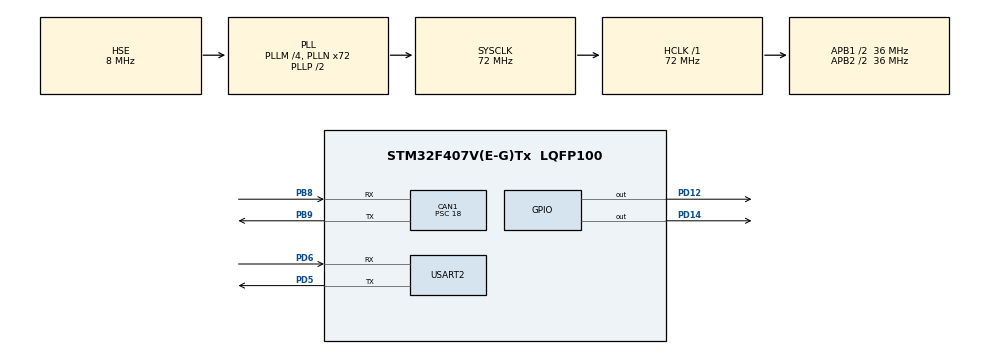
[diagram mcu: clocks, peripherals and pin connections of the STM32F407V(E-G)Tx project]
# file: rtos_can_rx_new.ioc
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CAN1.BS1=CAN_BS1_2TQ
CAN1.CalculateBaudRate=500000
CAN1.CalculateTimeBit=2000
CAN1.CalculateTimeQuantum=500.0
CAN1.Prescaler=18
FREERTOS.INCLUDE_vTaskDelayUntil=1
FREERTOS.Tasks01=defaultTask,-3,128,StartDefaultTask,Default,NULL,Dynamic,NULL,NULL
FREERTOS.configUSE_NEWLIB_REENTRANT=1
Mcu.Family=STM32F4
Mcu.Name=STM32F407V(E-G)Tx
Mcu.Package=LQFP100
NVIC.CAN1_RX0_IRQn=true\:5\:0\:false\:false\:true\:true\:true\:true\:true
NVIC.PriorityGroup=NVIC_PRIORITYGROUP_4
NVIC.TIM6_DAC_IRQn=true\:15\:0\:false\:false\:true\:false\:false\:true\:true
NVIC.TimeBase=TIM6_DAC_IRQn
NVIC.TimeBaseIP=TIM6
PB8.Mode=CAN_Activate
PB8.Signal=CAN1_RX
PB9.Mode=CAN_Activate
PB9.Signal=CAN1_TX
PD12.Signal=GPIO_Output
PD14.Signal=GPIO_Output
PD5.Mode=Asynchronous
PD5.Signal=USART2_TX
PD6.Mode=Asynchronous
PD6.Signal=USART2_RX
PH0-OSC_IN.Mode=HSE-External-Oscillator
PH0-OSC_IN.Signal=RCC_OSC_IN
PH1-OSC_OUT.Mode=HSE-External-Oscillator
PH1-OSC_OUT.Signal=RCC_OSC_OUT
ProjectManager.HeapSize=0x200
ProjectManager.StackSize=0x400
ProjectManager.TargetToolchain=STM32CubeIDE
RCC.48MHZClocksFreq_Value=20571428.57142857
RCC.AHBFreq_Value=72000000
RCC.APB1CLKDivider=RCC_HCLK_DIV2
RCC.APB1Freq_Value=36000000
RCC.APB1TimFreq_Value=72000000
RCC.APB2CLKDivider=RCC_HCLK_DIV2
RCC.APB2Freq_Value=36000000
RCC.APB2TimFreq_Value=72000000
RCC.CortexFreq_Value=72000000
RCC.HCLKFreq_Value=72000000
RCC.HSE_VALUE=8000000
RCC.HSI_VALUE=16000000
RCC.PLLM=4
RCC.PLLN=72
RCC.PLLQ=7
RCC.PLLSourceVirtual=RCC_PLLSOURCE_HSE
RCC.SYSCLKFreq_VALUE=72000000
RCC.SYSCLKSource=RCC_SYSCLKSOURCE_PLLCLK
RCC.VCOOutputFreq_Value=144000000
USART2.VirtualMode=VM_ASYNC
VP_FREERTOS_VS_CMSIS_V1.Mode=CMSIS_V1
VP_SYS_VS_tim6.Mode=TIM6
board=STM32F407G-DISC1

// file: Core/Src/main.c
/* USER CODE BEGIN Header */
/**
  ******************************************************************************
  * @file           : main.c
  * @brief          : Main program body
  ******************************************************************************
  * @attention
  *
  * Copyright (c) 2025 STMicroelectronics.
  * All rights reserved.
  *
  * This software is licensed under terms that can be found in the LICENSE file
  * in the root directory of this software component.
  * If no LICENSE file comes with this software, it is provided AS-IS.
  *
  ******************************************************************************
  */
/* USER CODE END Header */
#include "main.h"
#include "cmsis_os.h"

/* USER CODE BEGIN Includes */
#include "string.h"
#include "stdio.h"
/* USER CODE END Includes */

CAN_HandleTypeDef hcan1;

UART_HandleTypeDef huart2;

osThreadId defaultTaskHandle;

/* USER CODE BEGIN PV */

osThreadId CANRxTaskHandle;
CAN_RxHeaderTypeDef RxHeader;
uint8_t RxData[8];
volatile uint8_t dataReady = 0;

uint16_t LDR_Value;
uint16_t MQ5_Value;
uint8_t Temp_Value;
uint8_t Hum_Value;

/* USER CODE END PV */

void SystemClock_Config(void);
static void MX_GPIO_Init(void);
static void MX_CAN1_Init(void);
static void MX_USART2_UART_Init(void);
void StartDefaultTask(void const * argument);

/* USER CODE BEGIN PFP */

void canRxTask(void const * argument);

/* USER CODE END PFP */

/* USER CODE BEGIN 0 */
void HAL_CAN_RxFifo0MsgPendingCallback(CAN_HandleTypeDef *hcan)
{
  // Get received message
  if (HAL_CAN_GetRxMessage(hcan, CAN_RX_FIFO0, &RxHeader, RxData) == HAL_OK)
  {
    if (RxHeader.StdId == 0x0A9 && RxHeader.DLC >= 4)
    {
      // Extract 16-bit sensor values from data bytes
      LDR_Value  = (RxData[0] << 8) | RxData[1];
      MQ5_Value  = (RxData[2] << 8) | RxData[3];
      Temp_Value = (RxData[4] << 8) | RxData[5];
      Hum_Value  = (RxData[6] << 8) | RxData[7];
      dataReady  = 1;
    }
  }
}

/* USER CODE END 0 */

int main(void)
{

  /* MCU Configuration--------------------------------------------------------*/

  /* Reset of all peripherals, Initializes the Flash interface and the Systick. */
  HAL_Init();

  /* Configure the system clock */
  SystemClock_Config();

  /* Initialize all configured peripherals */
  MX_GPIO_Init();
  MX_CAN1_Init();
  MX_USART2_UART_Init();
  /* USER CODE BEGIN 2 */

  HAL_CAN_Start(&hcan1);
  HAL_CAN_ActivateNotification(&hcan1, CAN_IT_RX_FIFO0_MSG_PENDING );

  /* USER CODE END 2 */

  /* Create the thread(s) */
  /* definition and creation of defaultTask */
  osThreadDef(defaultTask, StartDefaultTask, osPriorityIdle, 0, 128);
  defaultTaskHandle = osThreadCreate(osThread(defaultTask), NULL);

  /* USER CODE BEGIN RTOS_THREADS */
  /* add threads, ... */

  osThreadDef(CANRxTask, canRxTask, osPriorityIdle, 0, 128);
  CANRxTaskHandle = osThreadCreate(osThread(CANRxTask), NULL);

  /* USER CODE END RTOS_THREADS */

  /* Start scheduler */
  osKernelStart();

  /* We should never get here as control is now taken by the scheduler */

  /* Infinite loop */
  while (1)
  {

  }
}

void SystemClock_Config(void)
{
  RCC_OscInitTypeDef RCC_OscInitStruct = {0};
  RCC_ClkInitTypeDef RCC_ClkInitStruct = {0};

  /** Configure the main internal regulator output voltage
  */
  __HAL_RCC_PWR_CLK_ENABLE();
  __HAL_PWR_VOLTAGESCALING_CONFIG(PWR_REGULATOR_VOLTAGE_SCALE1);

  /** Initializes the RCC Oscillators according to the specified parameters
  * in the RCC_OscInitTypeDef structure.
  */
  RCC_OscInitStruct.OscillatorType = RCC_OSCILLATORTYPE_HSE;
  RCC_OscInitStruct.HSEState = RCC_HSE_ON;
  RCC_OscInitStruct.PLL.PLLState = RCC_PLL_ON;
  RCC_OscInitStruct.PLL.PLLSource = RCC_PLLSOURCE_HSE;
  RCC_OscInitStruct.PLL.PLLM = 4;
  RCC_OscInitStruct.PLL.PLLN = 72;
  RCC_OscInitStruct.PLL.PLLP = RCC_PLLP_DIV2;
  RCC_OscInitStruct.PLL.PLLQ = 7;
  if (HAL_RCC_OscConfig(&RCC_OscInitStruct) != HAL_OK)
  {
    Error_Handler();
  }

  /** Initializes the CPU, AHB and APB buses clocks
  */
  RCC_ClkInitStruct.ClockType = RCC_CLOCKTYPE_HCLK|RCC_CLOCKTYPE_SYSCLK | RCC_CLOCKTYPE_PCLK1 | RCC_CLOCKTYPE_PCLK2;
  RCC_ClkInitStruct.SYSCLKSource = RCC_SYSCLKSOURCE_PLLCLK;
  RCC_ClkInitStruct.AHBCLKDivider = RCC_SYSCLK_DIV1;
  RCC_ClkInitStruct.APB1CLKDivider = RCC_HCLK_DIV2;
  RCC_ClkInitStruct.APB2CLKDivider = RCC_HCLK_DIV2;

  if (HAL_RCC_ClockConfig(&RCC_ClkInitStruct, FLASH_LATENCY_2) != HAL_OK)
  {
    Error_Handler();
  }
}

static void MX_CAN1_Init(void)
{

  hcan1.Instance = CAN1;
  hcan1.Init.Prescaler = 18;
  hcan1.Init.Mode = CAN_MODE_NORMAL;
  hcan1.Init.SyncJumpWidth = CAN_SJW_1TQ;
  hcan1.Init.TimeSeg1 = CAN_BS1_2TQ;
  hcan1.Init.TimeSeg2 = CAN_BS2_1TQ;
  hcan1.Init.TimeTriggeredMode = DISABLE;
  hcan1.Init.AutoBusOff = DISABLE;
  hcan1.Init.AutoWakeUp = DISABLE;
  hcan1.Init.AutoRetransmission = DISABLE;
  hcan1.Init.ReceiveFifoLocked = DISABLE;
  hcan1.Init.TransmitFifoPriority = DISABLE;
  if (HAL_CAN_Init(&hcan1) != HAL_OK)
  {
    Error_Handler();
  }
  /* USER CODE BEGIN CAN1_Init 2 */
  CAN_FilterTypeDef canFilterConfig;

    canFilterConfig.FilterActivation = ENABLE;
    canFilterConfig.FilterBank = 0;
    canFilterConfig.FilterFIFOAssignment = CAN_FILTER_FIFO0;
    canFilterConfig.FilterIdHigh = 0x0A9 << 5;  // Standard ID in top bits
    canFilterConfig.FilterIdLow = 0;
    canFilterConfig.FilterMaskIdHigh = 0x7FF << 5;  // Match only 0x0A9
    canFilterConfig.FilterMaskIdLow = 0;
    canFilterConfig.FilterMode = CAN_FILTERMODE_IDMASK;
    canFilterConfig.FilterScale = CAN_FILTERSCALE_32BIT;

    if (HAL_CAN_ConfigFilter(&hcan1, &canFilterConfig) != HAL_OK)
    {
      Error_Handler();
    }
  /* USER CODE END CAN1_Init 2 */

}

static void MX_USART2_UART_Init(void)
{

  huart2.Instance = USART2;
  huart2.Init.BaudRate = 115200;
  huart2.Init.WordLength = UART_WORDLENGTH_8B;
  huart2.Init.StopBits = UART_STOPBITS_1;
  huart2.Init.Parity = UART_PARITY_NONE;
  huart2.Init.Mode = UART_MODE_TX_RX;
  huart2.Init.HwFlowCtl = UART_HWCONTROL_NONE;
  huart2.Init.OverSampling = UART_OVERSAMPLING_16;
  if (HAL_UART_Init(&huart2) != HAL_OK)
  {
    Error_Handler();
  }

}

static void MX_GPIO_Init(void)
{
  GPIO_InitTypeDef GPIO_InitStruct = {0};

  /* GPIO Ports Clock Enable */
  __HAL_RCC_GPIOH_CLK_ENABLE();
  __HAL_RCC_GPIOD_CLK_ENABLE();
  __HAL_RCC_GPIOB_CLK_ENABLE();

  /*Configure GPIO pin Output Level */
  HAL_GPIO_WritePin(GPIOD, GPIO_PIN_12|GPIO_PIN_14, GPIO_PIN_RESET);

  /*Configure GPIO pins : PD12 PD14 */
  GPIO_InitStruct.Pin = GPIO_PIN_12|GPIO_PIN_14;
  GPIO_InitStruct.Mode = GPIO_MODE_OUTPUT_PP;
  GPIO_InitStruct.Pull = GPIO_NOPULL;
  GPIO_InitStruct.Speed = GPIO_SPEED_FREQ_LOW;
  HAL_GPIO_Init(GPIOD, &GPIO_InitStruct);

}

/* USER CODE BEGIN 4 */
void canRxTask(void const * argument)
{
  char uartMsg[100];
  for (;;)
  {
    if (dataReady)
    {
      sprintf(uartMsg, "LDR: %u  MQ5: %u  TEMP:%u  Humidity: %u%% \r\n", LDR_Value, MQ5_Value, Temp_Value, Hum_Value);
      HAL_UART_Transmit(&huart2, (uint8_t*)uartMsg, strlen(uartMsg), HAL_MAX_DELAY);

      // Optional: LED control example (turn on if LDR < 2000)
      if (LDR_Value < 2000)
        HAL_GPIO_WritePin(GPIOD, GPIO_PIN_14, GPIO_PIN_SET);
      else
        HAL_GPIO_WritePin(GPIOD, GPIO_PIN_14, GPIO_PIN_RESET);

      dataReady = 0;
    }
    osDelay(100);
  }
}

/* USER CODE END 4 */

void StartDefaultTask(void const * argument)
{
  for(;;)
  {
    osDelay(1);
  }
}

void HAL_TIM_PeriodElapsedCallback(TIM_HandleTypeDef *htim)
{
  if (htim->Instance == TIM6)
  {
    HAL_IncTick();
  }
}

void Error_Handler(void)
{
  __disable_irq();
  while (1)
  {
  }
}
